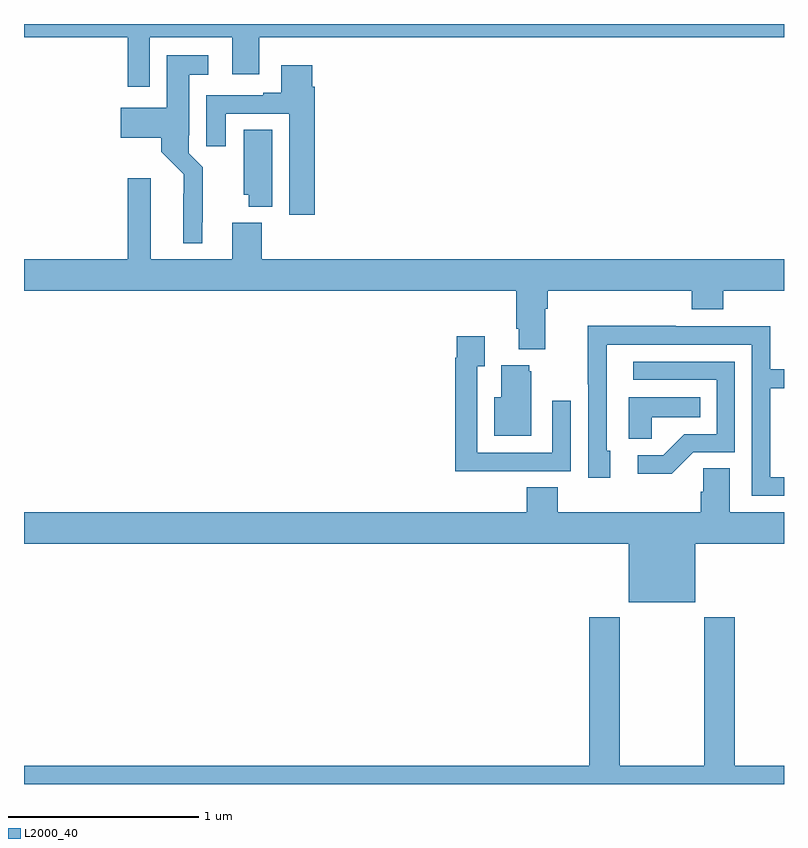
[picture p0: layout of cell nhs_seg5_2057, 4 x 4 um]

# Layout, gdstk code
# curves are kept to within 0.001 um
import gdstk
lib = gdstk.Library(unit=1e-6, precision=1e-09)
def P(c, l, *ps):  # polygons
    for p in ps: c.add(gdstk.Polygon(p, *l))
L2000_40 = (2000, 40)

nhs_seg5_2057 = lib.new_cell('nhs_seg5_2057')
P(nhs_seg5_2057, L2000_40, [(231.663,888.728),(232.097,888.728),(232.097,888.534),(232.237,888.534),(232.237,888.728),(235,888.728),(235,888.799),(231,888.799),(231,888.728),(231.547,888.728),(231.547,888.468),(231.663,888.468)],
  [(231.937,887.755),(231.941,887.755),(231.941,888.046),(231.867,888.12),(231.867,888.214),(231.871,888.214),(231.871,888.533),(231.97,888.533),(231.97,888.634),(231.752,888.634),(231.752,888.358),(231.51,888.358),(231.51,888.2),(231.722,888.2),(231.722,888.126),(231.84,888.008),(231.839,887.645),(231.937,887.645)],
  [(232.529,888.47),(232.516,888.47),(232.516,888.583),(232.355,888.583),(232.355,888.436),(232.259,888.436),(232.259,888.423),(231.959,888.423),(231.959,888.156),(232.063,888.156),(232.063,888.327),(232.397,888.327),(232.397,887.796),(232.529,887.796)],
  [(232.306,888.242),(232.157,888.242),(232.157,887.901),(232.184,887.901),(232.184,887.837),(232.306,887.837)],
  [(233.743,887.3),(233.756,887.3),(233.756,887.396),(234.515,887.396),(234.515,887.297),(234.68,887.297),(234.68,887.396),(235,887.396),(235,887.56),(232.25,887.56),(232.25,887.752),(232.097,887.752),(232.097,887.56),(231.667,887.56),(231.667,887.986),(231.545,887.986),(231.545,887.56),(231,887.56),(231,887.396),(233.591,887.396),(233.591,887.194),(233.603,887.194),(233.603,887.087),(233.743,887.087)],
  [(235,886.413),(234.927,886.413),(234.927,886.882),(235,886.882),(235,886.983),(234.927,886.983),(234.927,887.208),(234.431,887.208),(234.431,887.21),(233.968,887.21),(233.968,886.903),(233.97,886.903),(233.97,886.41),(234.085,886.41),(234.085,886.554),(234.066,886.554),(234.066,887.112),(234.831,887.112),(234.831,886.317),(235,886.317)],
  [(233.561,886.446),(233.877,886.446),(233.877,886.816),(233.781,886.816),(233.781,886.542),(233.385,886.542),(233.385,886.999),(233.425,886.999),(233.425,887.155),(233.277,887.155),(233.277,887.042),(233.269,887.042),(233.269,886.445),(233.561,886.445)],
  [(234.522,886.545),(234.741,886.545),(234.741,887.022),(234.207,887.022),(234.207,886.926),(234.645,886.926),(234.645,886.641),(234.476,886.641),(234.365,886.53),(234.231,886.53),(234.231,886.433),(234.409,886.433)],
  [(233.671,886.971),(233.66,886.971),(233.66,887.002),(233.513,887.002),(233.513,886.834),(233.474,886.834),(233.474,886.631),(233.671,886.631)],
  [(234.303,886.73),(234.56,886.73),(234.56,886.834),(234.182,886.834),(234.182,886.615),(234.303,886.615)],
  [(235,886.228),(234.715,886.228),(234.715,886.46),(234.576,886.46),(234.576,886.337),(234.563,886.337),(234.563,886.228),(233.81,886.228),(233.81,886.361),(233.645,886.361),(233.645,886.228),(231,886.228),(231,886.064),(234.182,886.064),(234.182,885.755),(234.532,885.755),(234.532,886.064),(235,886.064)],
  [(235,884.896),(234.74,884.896),(234.74,885.676),(234.58,885.676),(234.58,884.896),(234.135,884.896),(234.135,885.676),(233.975,885.676),(233.975,884.896),(231,884.896),(231,884.799),(235,884.799)])

lib.write_gds('nhs_seg5_2057.gds')
